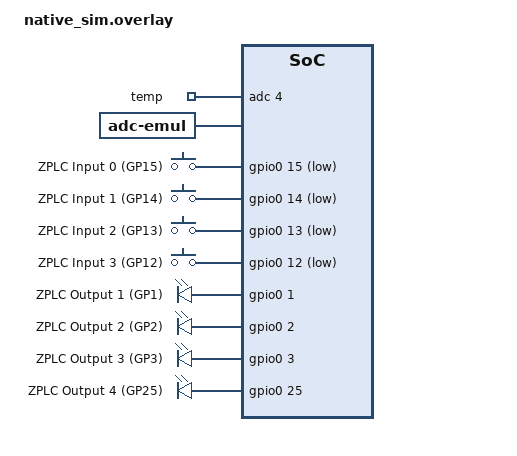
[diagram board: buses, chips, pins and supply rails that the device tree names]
/*
 * EMULATION ONLY - native_sim/native/64 with the Raspberry Pi Pico learner-board channel map.
 *
 * Used by `tools/firmware-test/run.sh app-native`, never by a shipped board. The
 * channels are the Pico's I/O description of firmware/app/boards/boards.json
 * (rpi-pico-rp2040), passed to the build as ZPLC_IO_DESCRIPTION: the same aliases
 * on the same pin numbers, here on gpio_emul, and the five converter inputs on an
 * adc_emul node labelled `adc` as on the RP2040. Inputs are switches to GND with
 * pull-ups (active low), as on the bench.
 */
/ {
    chosen {
        zephyr,console = &uart0;
        zephyr,shell-uart = &uart0;
    };

    zephyr,user {
        /* ADC input 4 is the temperature sensor on the RP2040 */
        io-channels = <&adc 4>;
        io-channel-names = "temp";
    };

    adc: adc_pico {
        compatible = "zephyr,adc-emul";
        nchannels = <5>;
        ref-internal-mv = <3300>;
        #io-channel-cells = <1>;
        status = "okay";
    };

    gpio_keys {
        compatible = "gpio-keys";
        button0: button_0 { gpios = <&gpio0 15 (GPIO_PULL_UP | GPIO_ACTIVE_LOW)>; label = "ZPLC Input 0 (GP15)"; zephyr,code = <0>; };
        button1: button_1 { gpios = <&gpio0 14 (GPIO_PULL_UP | GPIO_ACTIVE_LOW)>; label = "ZPLC Input 1 (GP14)"; zephyr,code = <1>; };
        button2: button_2 { gpios = <&gpio0 13 (GPIO_PULL_UP | GPIO_ACTIVE_LOW)>; label = "ZPLC Input 2 (GP13)"; zephyr,code = <2>; };
        button3: button_3 { gpios = <&gpio0 12 (GPIO_PULL_UP | GPIO_ACTIVE_LOW)>; label = "ZPLC Input 3 (GP12)"; zephyr,code = <3>; };
    };

    leds {
        led1: led_1 { gpios = <&gpio0 1 GPIO_ACTIVE_HIGH>; label = "ZPLC Output 1 (GP1)"; };
        led2: led_2 { gpios = <&gpio0 2 GPIO_ACTIVE_HIGH>; label = "ZPLC Output 2 (GP2)"; };
        led3: led_3 { gpios = <&gpio0 3 GPIO_ACTIVE_HIGH>; label = "ZPLC Output 3 (GP3)"; };
        led4: led_4 { gpios = <&gpio0 25 GPIO_ACTIVE_HIGH>; label = "ZPLC Output 4 (GP25)"; };
    };

    aliases {
        sw0 = &button0;
        sw1 = &button1;
        sw2 = &button2;
        sw3 = &button3;
        led0 = &led0;
        led1 = &led1;
        led2 = &led2;
        led3 = &led3;
        led4 = &led4;
    };
};

/* led0 of native_sim.dts is already gpio0 pin 0: DO0 */

&gpio0 {
    ngpios = <32>;
};

/* The Pico keeps 64 KB of storage at 0x1f0000 (rpi_pico_rp2040.overlay); native_sim's 16 KB is too small. */
&storage_partition {
    reg = <0x001f0000 0x00010000>;
};
